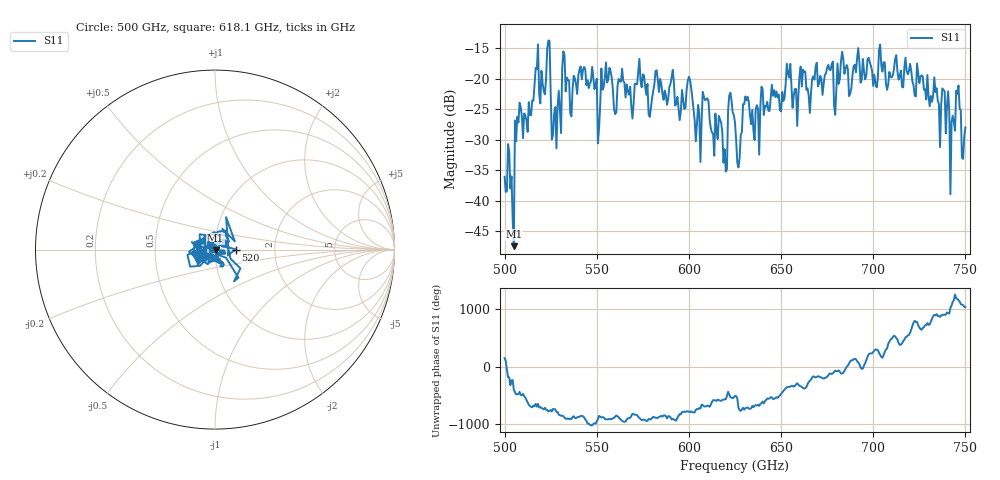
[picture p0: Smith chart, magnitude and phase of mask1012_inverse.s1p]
!Created with skrf (http://scikit-rf.org).
# GHz S MA R 50.0
!freq magS11 angS11
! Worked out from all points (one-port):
!   401 points, 500 GHz to 750 GHz, reference 50 ohm
!   lowest |S11| = -47.4 dB at 505 GHz (marker M1), VSWR 1.01, Z = 50.3 - j0.315 ohm
!   |S11| at or under -10 dB: start of sweep to end of sweep
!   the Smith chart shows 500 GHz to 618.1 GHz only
!   S11 on the Smith chart (normalised r, x): 500 GHz: 0.97, +0.02; 520 GHz: 1.26, +0.00; 618.1 GHz: 0.95, +0.04
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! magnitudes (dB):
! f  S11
! 500 GHz  -36.1
! 505 GHz  -47.4
! 506.9 GHz  -26.2
! 520 GHz  -18.7
! 523.8 GHz  -13.7
! 526.9 GHz  -25.6
! 531.2 GHz  -18.3
! 542.5 GHz  -18.6
! 550.6 GHz  -30.6
! 562.5 GHz  -20.4
! 590.6 GHz  -19.8
! 593.8 GHz  -23.0
! 600 GHz  -19.7
! 605 GHz  -24.3
! 608.8 GHz  -23.5
! 618.1 GHz  -28.8
! 620 GHz  -35.2
! 622.5 GHz  -22.3
! 625 GHz  -27.2
! 626.9 GHz  -34.5
! 630.6 GHz  -22.9
! 636.9 GHz  -24.3
! 656.2 GHz  -24.8
! 687.5 GHz  -22.5
! 718.8 GHz  -19.3
! 743.1 GHz  -26.1
! 746.2 GHz  -21.1
! 750 GHz  -28.0
